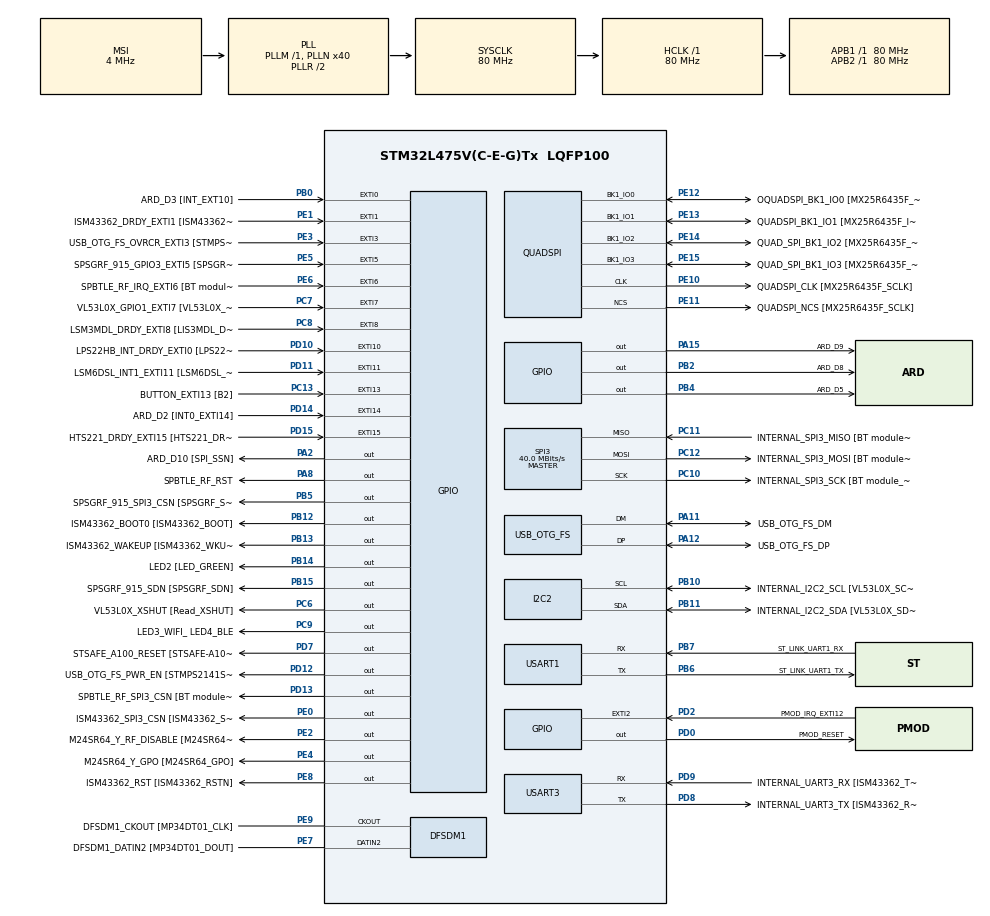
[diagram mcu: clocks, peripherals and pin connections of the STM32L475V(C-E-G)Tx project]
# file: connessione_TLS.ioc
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I2C2.Timing=0x10909CEC
Mcu.Family=STM32L4
Mcu.Name=STM32L475V(C-E-G)Tx
Mcu.Package=LQFP100
NVIC.EXTI15_10_IRQn=true\:0\:0\:false\:false\:true\:true\:true
NVIC.EXTI1_IRQn=true\:0\:0\:false\:false\:true\:true\:true
NVIC.EXTI9_5_IRQn=true\:0\:0\:false\:false\:true\:true\:true
NVIC.PriorityGroup=NVIC_PRIORITYGROUP_4
NVIC.RTC_Alarm_IRQn=true\:0\:0\:false\:false\:true\:true\:true
NVIC.TIM1_UP_TIM16_IRQn=true\:0\:0\:false\:false\:true\:true\:true
PA0.GPIO_Label=ARD_D1 [UART4_TX]
PA0.Signal=UART4_TX
PA1.GPIO_Label=ARD_D0 [UART4_RX]
PA1.Signal=UART4_RX
PA10.GPIO_Label=USB_OTG_FS_ID
PA10.Signal=USB_OTG_FS_ID
PA11.GPIO_Label=USB_OTG_FS_DM
PA11.Mode=Device_Only
PA11.Signal=USB_OTG_FS_DM
PA12.GPIO_Label=USB_OTG_FS_DP
PA12.Mode=Device_Only
PA12.Signal=USB_OTG_FS_DP
PA13\ (JTMS-SWDIO).GPIO_Label=SYS_JTMS_SWDIO
PA13\ (JTMS-SWDIO).Mode=Serial_Wire
PA13\ (JTMS-SWDIO).Signal=SYS_JTMS-SWDIO
PA14\ (JTCK-SWCLK).GPIO_Label=SYS_JTCK_SWCLK
PA14\ (JTCK-SWCLK).Mode=Serial_Wire
PA14\ (JTCK-SWCLK).Signal=SYS_JTCK-SWCLK
PA15\ (JTDI).GPIO_Label=ARD_D9
PA15\ (JTDI).Signal=GPIO_Output
PA2.GPIO_Label=ARD_D10 [SPI_SSN]
PA2.Signal=GPIO_Output
PA3.GPIO_Label=ARD_D4
PA3.Signal=S_TIM2_CH4
PA4.GPIO_Label=ARD_D7
PA4.Signal=ADCx_IN9
PA5.GPIO_Label=ARD_D13 [SPI1_SCK]
PA5.Signal=SPI1_SCK
PA6.GPIO_Label=ARD_D12 [SPI1_MISO]
PA6.Signal=SPI1_MISO
PA7.GPIO_Label=ARD_D11 [SPI1_MOSI]
PA7.Signal=SPI1_MOSI
PA8.GPIO_Label=SPBTLE_RF_RST
PA8.Signal=GPIO_Output
PA9.GPIO_Label=USB_OTG_FS_VBUS [STMPS2141STR_OUT]
PA9.Signal=USB_OTG_FS_VBUS
PB0.GPIO_Label=ARD_D3 [INT_EXT10]
PB0.Signal=GPXTI0
PB1.GPIO_Label=ARD_D6 [ADC1_IN6]
PB1.Signal=ADCx_IN16
PB10.GPIO_Label=INTERNAL_I2C2_SCL [VL53L0X_SCL]
PB10.Mode=I2C
PB10.Signal=I2C2_SCL
PB11.GPIO_Label=INTERNAL_I2C2_SDA [VL53L0X_SDA]
PB11.Mode=I2C
PB11.Signal=I2C2_SDA
PB12.GPIO_Label=ISM43362_BOOT0 [ISM43362_BOOT]
PB12.Signal=GPIO_Output
PB13.GPIO_Label=ISM43362_WAKEUP [ISM43362_WKUP]
PB13.Signal=GPIO_Output
PB14.GPIO_Label=LED2 [LED_GREEN]
PB14.Signal=GPIO_Output
PB15.GPIO_Label=SPSGRF_915_SDN [SPSGRF_SDN]
PB15.Signal=GPIO_Output
PB2.GPIO_Label=ARD_D8
PB2.Signal=GPIO_Output
PB3\ (JTDO-TRACESWO).GPIO_Label=SYS_JTD0_SWO
PB3\ (JTDO-TRACESWO).Signal=SYS_JTDO-SWO
PB4\ (NJTRST).GPIO_Label=ARD_D5
PB4\ (NJTRST).Signal=GPIO_Output
PB5.GPIO_Label=SPSGRF_915_SPI3_CSN [SPSGRF_SPI_CS]
PB5.PinState=GPIO_PIN_SET
PB5.Signal=GPIO_Output
PB6.GPIO_Label=ST_LINK_UART1_TX
PB6.Mode=Asynchronous
PB6.Signal=USART1_TX
PB7.GPIO_Label=ST_LINK_UART1_RX
PB7.Mode=Asynchronous
PB7.Signal=USART1_RX
PB8.GPIO_Label=ARD_D15 [I2C1_SCL]
PB8.Signal=I2C1_SCL
PB9.GPIO_Label=ARD_D14 [I2C1_SDA]
PB9.Signal=I2C1_SDA
PC0.GPIO_Label=ARD_A5 [ADC]
PC0.Signal=ADCx_IN1
PC1.GPIO_Label=ARD_A4 [ADC]
PC1.Signal=ADCx_IN2
PC10.GPIO_Label=INTERNAL_SPI3_SCK [BT module_SPI_SCLK] [ISM43362_SCK]
PC10.Mode=Full_Duplex_Master
PC10.Signal=SPI3_SCK
PC11.GPIO_Label=INTERNAL_SPI3_MISO [BT module_SPI_MISO] [ISM43362_MISO]
PC11.Mode=Full_Duplex_Master
PC11.Signal=SPI3_MISO
PC12.GPIO_Label=INTERNAL_SPI3_MOSI [BT module_SPI_MOSI] [ISM43362_MOSI]
PC12.Mode=Full_Duplex_Master
PC12.Signal=SPI3_MOSI
PC13.GPIO_Label=BUTTON_EXTI13 [B2]
PC13.GPIO_ModeDefaultEXTI=GPIO_MODE_IT_FALLING
PC13.Signal=GPXTI13
PC14-OSC32_IN\ (PC14).Mode=LSE-External-Oscillator
PC14-OSC32_IN\ (PC14).Signal=RCC_OSC32_IN
PC15-OSC32_OUT\ (PC15).Mode=LSE-External-Oscillator
PC15-OSC32_OUT\ (PC15).Signal=RCC_OSC32_OUT
PC2.GPIO_Label=ARD_A3 [ADC]
PC2.Signal=ADCx_IN3
PC3.GPIO_Label=ARD_A2 [ADC]
PC3.Signal=ADCx_IN4
PC4.GPIO_Label=ARD_A1 [ADC]
PC4.Signal=ADCx_IN13
PC5.GPIO_Label=ARD_A0 [ADC]
PC5.Signal=ADCx_IN14
PC6.GPIO_Label=VL53L0X_XSHUT [Read_XSHUT]
PC6.Signal=GPIO_Output
PC7.GPIO_Label=VL53L0X_GPIO1_EXTI7 [VL53L0X_GPIO1]
PC7.Signal=GPXTI7
PC8.GPIO_Label=LSM3MDL_DRDY_EXTI8 [LIS3MDL_DRDY]
PC8.Signal=GPXTI8
PC9.GPIO_Label=LED3_WIFI_ LED4_BLE
PC9.Signal=GPIO_Output
PD0.GPIO_Label=PMOD_RESET
PD0.Signal=GPIO_Output
PD1.GPIO_Label=PMOD_SPI2_SCK
PD1.Signal=SPI2_SCK
PD10.GPIO_Label=LPS22HB_INT_DRDY_EXTI0 [LPS22HB_INT_DRDY] 
PD10.Signal=GPXTI10
PD11.GPIO_Label=LSM6DSL_INT1_EXTI11 [LSM6DSL_INT1]
PD11.Signal=GPXTI11
PD12.GPIO_Label=USB_OTG_FS_PWR_EN [STMPS2141STR_EN]
PD12.Signal=GPIO_Output
PD13.GPIO_Label=SPBTLE_RF_SPI3_CSN [BT module_SPI_CS]
PD13.PinState=GPIO_PIN_SET
PD13.Signal=GPIO_Output
PD14.GPIO_Label=ARD_D2 [INT0_EXTI14]
PD14.Signal=GPXTI14
PD15.GPIO_Label=HTS221_DRDY_EXTI15 [HTS221_DRDY]
PD15.Signal=GPXTI15
PD2.GPIO_Label=PMOD_IRQ_EXTI12
PD2.Signal=GPXTI2
PD3.GPIO_Label=PMOD_UART2_CTS
PD3.Signal=USART2_CTS
PD4.GPIO_Label=PMOD_UART2_RTS
PD4.Signal=USART2_RTS
PD5.GPIO_Label=PMOD_UART2_TX
PD5.Signal=USART2_TX
PD6.GPIO_Label=PMOD_UART2_RX
PD6.Signal=USART2_RX
PD7.GPIO_Label=STSAFE_A100_RESET [STSAFE-A100_RESET]
PD7.Signal=GPIO_Output
PD8.GPIO_Label=INTERNAL_UART3_TX [ISM43362_RX]
PD8.Mode=Asynchronous
PD8.Signal=USART3_TX
PD9.GPIO_Label=INTERNAL_UART3_RX [ISM43362_TX]
PD9.Mode=Asynchronous
PD9.Signal=USART3_RX
PE0.GPIO_Label=ISM43362_SPI3_CSN [ISM43362_SSN]
PE0.PinState=GPIO_PIN_SET
PE0.Signal=GPIO_Output
PE1.GPIO_Label=ISM43362_DRDY_EXTI1 [ISM43362_DATARDY]
PE1.Signal=GPXTI1
PE10.GPIO_Label=QUADSPI_CLK [MX25R6435F_SCLK]
PE10.Mode=Single Bank
PE10.Signal=QUADSPI_CLK
PE11.GPIO_Label=QUADSPI_NCS [MX25R6435F_SCLK]
PE11.Mode=Single Bank
PE11.Signal=QUADSPI_NCS
PE12.GPIO_Label=OQUADSPI_BK1_IO0 [MX25R6435F_IO0]
PE12.Mode=Single Bank
PE12.Signal=QUADSPI_BK1_IO0
PE13.GPIO_Label=QUADSPI_BK1_IO1 [MX25R6435F_IO1]
PE13.Mode=Single Bank
PE13.Signal=QUADSPI_BK1_IO1
PE14.GPIO_Label=QUAD_SPI_BK1_IO2 [MX25R6435F_IO2]
PE14.Mode=Single Bank
PE14.Signal=QUADSPI_BK1_IO2
PE15.GPIO_Label=QUAD_SPI_BK1_IO3 [MX25R6435F_IO3]
PE15.Mode=Single Bank
PE15.Signal=QUADSPI_BK1_IO3
PE2.GPIO_Label=M24SR64_Y_RF_DISABLE [M24SR64_RFDIS]
PE2.Signal=GPIO_Output
PE3.GPIO_Label=USB_OTG_FS_OVRCR_EXTI3 [STMPS2141STR_FAULT]
PE3.Signal=GPXTI3
PE4.GPIO_Label=M24SR64_Y_GPO [M24SR64_GPO]
PE4.Signal=GPIO_Output
PE5.GPIO_Label=SPSGRF_915_GPIO3_EXTI5 [SPSGRF_GPIO_3]
PE5.Signal=GPXTI5
PE6.GPIO_Label=SPBTLE_RF_IRQ_EXTI6 [BT module_SPI_IRQ]
PE6.Signal=GPXTI6
PE7.GPIO_Label=DFSDM1_DATIN2 [MP34DT01_DOUT]
PE7.Signal=S_DATAIN2DFSDM1
PE8.GPIO_Label=ISM43362_RST [ISM43362_RSTN]
PE8.Signal=GPIO_Output
PE9.GPIO_Label=DFSDM1_CKOUT [MP34DT01_CLK]
PE9.Signal=S_CKOUTDFSDM1
ProjectManager.HeapSize=0x200
ProjectManager.StackSize=0x400
ProjectManager.TargetToolchain=STM32CubeIDE
RCC.ADCFreq_Value=48000000
RCC.AHBFreq_Value=80000000
RCC.APB1Freq_Value=80000000
RCC.APB1TimFreq_Value=80000000
RCC.APB2Freq_Value=80000000
RCC.APB2TimFreq_Value=80000000
RCC.CortexFreq_Value=80000000
RCC.HCLKFreq_Value=80000000
RCC.HSE_VALUE=8000000
RCC.HSI_VALUE=16000000
RCC.MSI_VALUE=4000000
RCC.PLLN=40
RCC.PLLSAI1N=24
RCC.SYSCLKFreq_VALUE=80000000
RCC.SYSCLKSource=RCC_SYSCLKSOURCE_PLLCLK
RCC.USBFreq_Value=48000000
RCC.VCOOutputFreq_Value=160000000
RTC.Alarm-Alarm\ A=RTC_ALARM_A
RTC.AlarmDateWeekDay-Alarm\ A=1
RTC.AlarmMaskDateWeekDay-Alarm\ A=RTC_ALARMMASK_DATEWEEKDAY
RTC.Format=RTC_FORMAT_BIN
RTC.Hours_A-Alarm\ A=13
RTC.Minutes_A-Alarm\ A=14
RTC.Seconds_A-Alarm\ A=5
SH.ADCx_IN1.0=ADC1_IN1
SH.ADCx_IN13.0=ADC1_IN13
SH.ADCx_IN14.0=ADC1_IN14
SH.ADCx_IN16.0=ADC1_IN16
SH.ADCx_IN2.0=ADC1_IN2
SH.ADCx_IN3.0=ADC1_IN3
SH.ADCx_IN4.0=ADC1_IN4
SH.ADCx_IN9.0=ADC1_IN9
SH.S_CKOUTDFSDM1.0=DFSDM1_CKOUT,CKOUT
SH.S_CKOUTDFSDM1.1=DFSDM1_CKOUT,PDM_SPI_Input_from_ch12_and_Internal_Clock
SH.S_DATAIN2DFSDM1.0=DFSDM1_DATIN2,PDM_SPI_Input_from_ch12_and_Internal_Clock
SH.S_TIM2_CH4.0=TIM2_CH4
SPI3.CalculateBaudRate=40.0 MBits/s
SPI3.Direction=SPI_DIRECTION_2LINES
SPI3.Mode=SPI_MODE_MASTER
SPI3.VirtualType=VM_MASTER
TIM16.AutoReloadPreload=TIM_AUTORELOAD_PRELOAD_ENABLE
TIM16.Period=8000-1
TIM16.Prescaler=10000-1
TIM16.RepetitionCounter=3
USART1.VirtualMode-Asynchronous=VM_ASYNC
USART3.VirtualMode-Asynchronous=VM_ASYNC
USB_OTG_FS.VirtualMode=Device_Only
VP_RNG_VS_RNG.Mode=RNG_Activate
VP_RTC_VS_RTC_Activate.Mode=RTC_Enabled
VP_RTC_VS_RTC_Alarm_A_Intern.Mode=Alarm A
VP_RTC_VS_RTC_Calendar.Mode=RTC_Calendar
VP_TIM16_VS_ClockSourceINT.Mode=Enable_Timer
board=B-L475E-IOT01A1

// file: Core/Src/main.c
/* USER CODE BEGIN Header */
/**
  ******************************************************************************
  * @file           : main.c
  * @brief          : Main program body
  ******************************************************************************
  * @attention
  *
  * <h2><center>&copy; Copyright (c) 2020 STMicroelectronics.
  * All rights reserved.</center></h2>
  *
  * This software component is licensed by ST under BSD 3-Clause license,
  * the "License"; You may not use this file except in compliance with the
  * License. You may obtain a copy of the License at:
  *                        opensource.org/licenses/BSD-3-Clause
  *
  ******************************************************************************
  *
  * Il codice qui scritto effettua le seguenti operazioni:
  *  - Connessione alla rete Wi-Fi
  *  - Creazione di una connessione criptata TLS
  *  - Creazione di una connessione MQTT
  *  - Sottoscrizione al topic di ricezione orario
  *  - Publish su due diversi topic
  *  - Scrittura a terminale di avvenuta ricezione di un messaggio inviato dal broker
  */
/* USER CODE END Header */

#include "main.h"
#include "dfsdm.h"
#include "i2c.h"
#include "quadspi.h"
#include "rng.h"
#include "rtc.h"
#include "spi.h"
#include "tim.h"
#include "usart.h"
#include "usb_otg.h"
#include "gpio.h"

/* USER CODE BEGIN Includes */

#include "MQTT_fundamental.h"
#include "macro_def.h"
#include "eeprom_emul.h"

/* USER CODE END Includes */

/* USER CODE BEGIN PV */

#if defined (TERMINAL_USE)
extern UART_HandleTypeDef hDiscoUart;
#endif /* TERMINAL_USE */

/* Variabile che identifica l'SPI3 */
extern  SPI_HandleTypeDef hspi;

extern __IO uint32_t uwTick;
extern uint16_t dataCollectIterations;

/* Variabile Random Number Generator (RNG) */
RNG_HandleTypeDef hrng;

/* Variabili per connessione TLS */
mbedtls_net_context server_fd;
mbedtls_entropy_context entropy;
mbedtls_ssl_context ssl;
mbedtls_ctr_drbg_context ctr_drbg;
mbedtls_ssl_config conf;
mbedtls_x509_crt cacert;
Network network;

/* Variabile client MQTT */
MQTTClient c;

/*Variabili per la gestione dell'RTC*/
RTC_TimeTypeDef structureTimeGet;
RTC_DateTypeDef structureDateGet;

flags_t flags = {0};

//uint8_t timeReqFlag = 0;

/*
 * Variabili per la gestione del sensore HTS221 (temperatura e umidità)
 * */
	int i=0;
	int16_t T0_out, T1_out, T_out, T0_degC_x8_u16, T1_degC_x8_u16;
	int16_t T0_degC, T1_degC;
	uint8_t buffer[4], tmp;
	int32_t temperature32;
	char temperature32_string[5];

	int16_t H0_T0_out, H1_T0_out, H_T_out;
	int16_t H0_rh, H1_rh;
	int32_t humidity32;
	char humidity32_string[5];

/* USER CODE END PV */

void SystemClock_Config(void);

/* USER CODE BEGIN 0 */

typedef enum{
	IDLE,
	timeRequest,
	dataRead,
	dataSend
}state;

/* USER CODE END 0 */

int main(void)
{
  /* USER CODE BEGIN 1 */
  uint8_t ret = 0;

  /* USER CODE END 1 */

  /* MCU Configuration--------------------------------------------------------*/

  /* Reset of all peripherals, Initializes the Flash interface and the Systick. */
  HAL_Init();

  /* Configure the system clock */
  SystemClock_Config();

  /* Initialize all configured peripherals */
  MX_GPIO_Init();
  MX_DFSDM1_Init();
  MX_I2C2_Init();
  MX_QUADSPI_Init();
  MX_SPI3_Init();
  MX_USART1_UART_Init();
  MX_USART3_UART_Init();
  MX_USB_OTG_FS_PCD_Init();
  MX_RNG_Init();
  MX_RTC_Init();
  MX_TIM16_Init();
  /* USER CODE BEGIN 2 */

  /*
   * Definizione parametri UART per scrittura a terminale
   */
#if defined (TERMINAL_USE)
  /* Initialize all configured peripherals */
  hDiscoUart.Instance = DISCOVERY_COM1;
  hDiscoUart.Init.BaudRate = 115200;
  hDiscoUart.Init.WordLength = UART_WORDLENGTH_8B;
  hDiscoUart.Init.StopBits = UART_STOPBITS_1;
  hDiscoUart.Init.Parity = UART_PARITY_NONE;
  hDiscoUart.Init.Mode = UART_MODE_TX_RX;
  hDiscoUart.Init.HwFlowCtl = UART_HWCONTROL_NONE;
  hDiscoUart.Init.OverSampling = UART_OVERSAMPLING_16;
  hDiscoUart.Init.OneBitSampling = UART_ONE_BIT_SAMPLE_DISABLE;
  hDiscoUart.AdvancedInit.AdvFeatureInit = UART_ADVFEATURE_NO_INIT;

  BSP_COM_Init(COM1, &hDiscoUart);
#endif
  /* Inizializzazione TLS */
  Net_TLS_Init();
  /* Connessione alla rete Wi-Fi */

  /*
   * TODO: In caso di errore di mancata connessione al wifi (ret!=0) si deve pensare alla gestione
   */
  ret = board_wifi_init(SSID_RETE, PASSWORD);
  WIFI_Status_t conn_rc = WIFI_STATUS_ERROR;
  for(uint8_t connTrials=0; connTrials<CONNECTION_TRIAL_MAX;connTrials++)
  {
	  /* Connessione al server con TLS */
	  conn_rc = TLS_connect(SERVER_NAME, SERVER_PORT, SERVER_CN);
	  if(conn_rc==WIFI_STATUS_OK)
	  {
		  TERMOUT("> TLS connection to server SUCCESSFULL\n");
		  break;
	  }
	  else
	  {
		  TERMOUT("> TLS connection to server FAILED\n");
		  HAL_Delay(RECONNECT_DELAY);
		  if(connTrials==CONNECTION_TRIAL_MAX-1)
		  {
			  /*
			   * TODO: Gestire la mancata connessione al server
			   */
			  Error_Handler();
		  }
	  }
  }
  /* Setup connessione MQTT */
  MQTT_setup();

  /* USER CODE END 2 */

  /* Infinite loop */
  /* USER CODE BEGIN WHILE */

#if defined (SERVER_MODENA)
  /*
   * Queste sono le variabili da riempire con i dati da inviare al server:
   *
   * diff_measures: Numero di diverse tipologie di misura
   * measures_name: Nome della misura
   * measure_unit: Unità di misura
   * data_type: Tipologia di dato (es. passo, salto, temp. interna, temp. esterna, ...)
   * values: Valori di misura. ATTENZIONE! tutti i valori delle misure devono essere inseriti
   * 		 in questo array in ordine come nelle variabili precedenti
   * 		 Esempio: prima i 10 valori di passo, poi i 5 di salto, poi i 7 di temp. interna,
   * 		 		  poi i 9 di temp. esterna
   * measures_intervals: Il numero di valori di ogni diversa misura
   * 					 (nel nostro esempio rispettivamente 10,5,7,9)
   *
   * TODO: Il massimo numero di caratteri della stringa sono 2000... valore da valutare
   *
   */
//  uint8_t diff_measures = 4;//numero di misure
//  char* measures_name[] = {"tmp","pos","vel","wgh"};
//  char* measure_unit[] = {"celsius","centimeters","meters/seconds","kg"};
//  char* data_type[] = {"ambient temperature", "foot position", "run speed", "subject weight"};
//  int values[] = {1,2,3,4,5,6,7,8,9,0};
//  int measures_intervals[] = {3,4,2,1};

    uint8_t diff_measures = 2;//numero di misure
    char* measures_name[] = {"Temperatura","Umidita"};	//nomi delle misure
    char* measure_unit[] = {"celsius","%"};	//unita' di misura
    char* data_type[] = {"temperatura ambiente", "umidita relativa"};
    uint8_t values[] = {0,0,0,0,0,0,0,0,0,0};
    int measures_intervals[] = {DATA_SEND_INTERVAL, DATA_SEND_INTERVAL};	//numero di campioni per ciascuna misura
    char* timestamps[DATA_SEND_INTERVAL];

    for(i=0;i<DATA_SEND_INTERVAL;i++){
    	timestamps[i] = (char*)malloc(17*sizeof(char));
    }

    //Per default tutti i flag sono 0, tranne quelli elencati sotto che devono essere a 1.
    flags.serverTimeRequest = 1;	//alla prima esecuzione chiedo il tempo

    /*Configurazione e abilitazione delle varie periferiche*/
    rtc_alarm_setup(23,55,00);	//impostazione dell'allarme; parametri: 1.ora, 2.minuti, 3.secondi;
    hts221_setup();	//configurazione del sensore di temperatura e umidità
    tim16_setup(TIM16_IRQ_INTERVAL);	//configurazione e abilitazione del timer TIM16

//    ee_init();

//    i=0;

  while (1)
  {

	/*Richiesta del tempo e aggiornamento dell'RTC*/
	if(flags.serverTimeRequest==1){

		TERMOUT("Chiedo il tempo al server\n");
		ret = request_time();
		ret = request_time();

		HAL_Delay(1000);

		if (ret == 0)
		{
		  TERMOUT("> Correct Publish to the topic: %s\n", TOPIC_REQ_TIME);
		}
		else
		{
		  /*
		   * TODO: Riavviare la connessione al broker in caso di errore nella publish
		   */
		  TERMOUT("> Unable to Publish to the topic: %s\n", TOPIC_REQ_TIME);
		}

//		//aspetto per un po' di tempo la risposta del server

		//azzero il flag
		flags.serverTimeRequest = 0;

	}
	if(flags.connectionCheck==1){

		TERMOUT("Sono nella Yield\n");	//per debug
		if ((ret=MQTTYield(&c, 1000))!=0)
		{
		  TERMOUT("Yield ERROR \n");
		  /*
		   * TODO: Riavviare la connessione al broker in caso di errore nella Yield
		   */
		}else{
			TERMOUT("Yield SUCCESS \n");	//per debug

			//azzero flag
			flags.connectionCheck = 0;
			TERMOUT("Esco dalla Yield\n");
		}

	}

	if(flags.sensorDataRead==1 && flags.connectionCheck == 0){

		TERMOUT("COLLECTING DATA\n");	//per debug

//		uint8_t to_flash[8];

//		//1. Leggo sensori
		hts221_temp_humidity_read((int32_t*)&values[i], (int32_t*)&values[i+DATA_SEND_INTERVAL]);
//		hts221_temp_humidity_read((int32_t*)&to_flash[0], (int32_t*)&to_flash[1]);

		HAL_RTC_GetTime(&hrtc, &structureTimeGet, RTC_FORMAT_BIN);
		HAL_RTC_GetDate(&hrtc, &structureDateGet, RTC_FORMAT_BIN);

		sprintf(timestamps[i], "%d:%d:%d-%d:%d:%d",
								structureDateGet.Year, structureDateGet.Month, structureDateGet.Date,
								structureTimeGet.Hours, structureTimeGet.Minutes, structureTimeGet.Seconds);
//		to_flash[2] = structureDateGet.Year;
//		to_flash[3] = structureDateGet.Month;
//		to_flash[4] = structureDateGet.Date;
//		to_flash[5] = structureTimeGet.Hours;
//		to_flash[6] = structureTimeGet.Minutes;
//		to_flash[7] = structureTimeGet.Seconds;
//
//		//2. Inserisco i dati nella flash
//		ee_writeToRam(8*i, 8, to_flash);
//		ee_commit();

		//Variabile che memorizza il numero di valori inseriti nella flash
		i++; if(i==DATA_SEND_INTERVAL){i=0;}

		//3. azzero flag
		flags.sensorDataRead=0;
	}

	if(flags.sensorDataSend==1 && flags.connectionCheck == 0){

		TERMOUT("SENDING DATA \n");

//		uint8_t from_flash[DATA_SEND_INTERVAL][8];

//		//1. Leggo i dati dalla flash
//		for(int i = 0; i < DATA_SEND_INTERVAL; i++){
//
//			ee_read(8*i, 8, from_flash[i]);
//
//		}

//		for(int i = 0; i < DATA_SEND_INTERVAL; i++){
//
//			values[i] = from_flash[i][0];
//			values[i+DATA_SEND_INTERVAL] = from_flash[i][1];
//			sprintf(timestamps[i], "%d:%d:%d-%d:%d:%d",
//									from_flash[i][2], from_flash[i][3], from_flash[i][4],
//									from_flash[i][5], from_flash[i][6], from_flash[i][7]);
//		}

		//2. Pubblico il messaggio
		send_data(diff_measures, measures_name, measure_unit, data_type, values, measures_intervals, timestamps);

//		//3. Cancello il vecchio set di campioni dalla flash
//		ee_format(true);

		//3. azzero flag
		flags.sensorDataSend=0;
	}

    /* USER CODE END WHILE */

    /* USER CODE BEGIN 3 */
  }
#else

  MQTTMessage data_msg;
  uint8_t qos = QOS_PUB;
  char* data_send_topic = TOPIC_OSO;
  char buffer[2000];
  sprintf(buffer,"This is a test for yield verify");
  data_msg.payload = buffer;
  data_msg.payloadlen = strlen(data_msg.payload);
  data_msg.qos = qos;
  data_msg.retained = 0;
  data_msg.dup = 0;

  while (1)
  {
	  TERMOUT("> Message 1 at QoS %d\n", QOS_PUB);
	  ret = MQTTPublish(&c, data_send_topic, &data_msg);

	  if (ret == 0)
	  {
		  TERMOUT("> Correct Publish to the topic: %s\n", TOPIC_OSO);
	  }
	  else
	  {
		  /*
		   * TODO: Riavviare la connessione al broker in caso di errore nella publish
		   */
		  TERMOUT("> Unable to Publish to the topic: %s\n", TOPIC_OSO);
	  }
	  HAL_Delay(1000);

	  TERMOUT("> Message 2 at QoS %d\n", QOS_PUB);
	  ret = MQTTPublish(&c, data_send_topic, &data_msg);
	  if (ret == 0)
	  {
		  TERMOUT("> Correct Publish to the topic: %s\n", TOPIC_OSO);
	  }
	  else
	  {
		  /*
		   * TODO: Riavviare la connessione al broker in caso di errore nella publish
		   */
		  TERMOUT("> Unable to Publish to the topic: %s\n", TOPIC_OSO);
	  }
	  HAL_Delay(1000);

	  TERMOUT("> Time request \n");
	  ret = MQTTPublish(&c, data_send_topic, &data_msg);
	  if (ret == 0)
	  {
		  TERMOUT("> Correct Publish to the topic: %s\n", TOPIC_REQ_TIME);
	  }
	  else
	  {
		  /*
		   * TODO: Riavviare la connessione al broker in caso di errore nella publish
		   */
		  TERMOUT("> Unable to Publish to the topic: %s\n", TOPIC_REQ_TIME);
	  }
	  HAL_Delay(1000);

	  while(1)
	  {
		  if ((ret=MQTTYield(&c, 2000))!=0)
		  {
			  TERMOUT("Yield ERROR \n");
			  /*
			   * TODO: Riavviare la connessione al broker in caso di errore nella Yield
			   */
		  }
	  }

    /* USER CODE END WHILE */

    /* USER CODE BEGIN 3 */
  }
#endif
  /* USER CODE END 3 */
}

void SystemClock_Config(void)
{
  RCC_OscInitTypeDef RCC_OscInitStruct = {0};
  RCC_ClkInitTypeDef RCC_ClkInitStruct = {0};
  RCC_PeriphCLKInitTypeDef PeriphClkInit = {0};

  /** Configure LSE Drive Capability
  */
  HAL_PWR_EnableBkUpAccess();
  __HAL_RCC_LSEDRIVE_CONFIG(RCC_LSEDRIVE_LOW);
  /** Initializes the CPU, AHB and APB busses clocks
  */
  RCC_OscInitStruct.OscillatorType = RCC_OSCILLATORTYPE_LSI|RCC_OSCILLATORTYPE_LSE
                              |RCC_OSCILLATORTYPE_MSI;
  RCC_OscInitStruct.LSEState = RCC_LSE_ON;
  RCC_OscInitStruct.LSIState = RCC_LSI_ON;
  RCC_OscInitStruct.MSIState = RCC_MSI_ON;
  RCC_OscInitStruct.MSICalibrationValue = 0;
  RCC_OscInitStruct.MSIClockRange = RCC_MSIRANGE_6;
  RCC_OscInitStruct.PLL.PLLState = RCC_PLL_ON;
  RCC_OscInitStruct.PLL.PLLSource = RCC_PLLSOURCE_MSI;
  RCC_OscInitStruct.PLL.PLLM = 1;
  RCC_OscInitStruct.PLL.PLLN = 40;
  RCC_OscInitStruct.PLL.PLLP = RCC_PLLP_DIV7;
  RCC_OscInitStruct.PLL.PLLQ = RCC_PLLQ_DIV2;
  RCC_OscInitStruct.PLL.PLLR = RCC_PLLR_DIV2;
  if (HAL_RCC_OscConfig(&RCC_OscInitStruct) != HAL_OK)
  {
    Error_Handler();
  }
  /** Initializes the CPU, AHB and APB busses clocks
  */
  RCC_ClkInitStruct.ClockType = RCC_CLOCKTYPE_HCLK|RCC_CLOCKTYPE_SYSCLK
                              |RCC_CLOCKTYPE_PCLK1|RCC_CLOCKTYPE_PCLK2;
  RCC_ClkInitStruct.SYSCLKSource = RCC_SYSCLKSOURCE_PLLCLK;
  RCC_ClkInitStruct.AHBCLKDivider = RCC_SYSCLK_DIV1;
  RCC_ClkInitStruct.APB1CLKDivider = RCC_HCLK_DIV1;
  RCC_ClkInitStruct.APB2CLKDivider = RCC_HCLK_DIV1;

  if (HAL_RCC_ClockConfig(&RCC_ClkInitStruct, FLASH_LATENCY_4) != HAL_OK)
  {
    Error_Handler();
  }
  PeriphClkInit.PeriphClockSelection = RCC_PERIPHCLK_RTC|RCC_PERIPHCLK_USART1
                              |RCC_PERIPHCLK_USART3|RCC_PERIPHCLK_I2C2
                              |RCC_PERIPHCLK_DFSDM1|RCC_PERIPHCLK_USB
                              |RCC_PERIPHCLK_RNG;
  PeriphClkInit.Usart1ClockSelection = RCC_USART1CLKSOURCE_PCLK2;
  PeriphClkInit.Usart3ClockSelection = RCC_USART3CLKSOURCE_PCLK1;
  PeriphClkInit.I2c2ClockSelection = RCC_I2C2CLKSOURCE_PCLK1;
  PeriphClkInit.Dfsdm1ClockSelection = RCC_DFSDM1CLKSOURCE_PCLK;
  PeriphClkInit.RTCClockSelection = RCC_RTCCLKSOURCE_LSI;
  PeriphClkInit.UsbClockSelection = RCC_USBCLKSOURCE_PLLSAI1;
  PeriphClkInit.RngClockSelection = RCC_RNGCLKSOURCE_PLLSAI1;
  PeriphClkInit.PLLSAI1.PLLSAI1Source = RCC_PLLSOURCE_MSI;
  PeriphClkInit.PLLSAI1.PLLSAI1M = 1;
  PeriphClkInit.PLLSAI1.PLLSAI1N = 24;
  PeriphClkInit.PLLSAI1.PLLSAI1P = RCC_PLLP_DIV7;
  PeriphClkInit.PLLSAI1.PLLSAI1Q = RCC_PLLQ_DIV2;
  PeriphClkInit.PLLSAI1.PLLSAI1R = RCC_PLLR_DIV2;
  PeriphClkInit.PLLSAI1.PLLSAI1ClockOut = RCC_PLLSAI1_48M2CLK;
  if (HAL_RCCEx_PeriphCLKConfig(&PeriphClkInit) != HAL_OK)
  {
    Error_Handler();
  }
  /** Configure the main internal regulator output voltage
  */
  if (HAL_PWREx_ControlVoltageScaling(PWR_REGULATOR_VOLTAGE_SCALE1) != HAL_OK)
  {
    Error_Handler();
  }
  /** Enable MSI Auto calibration
  */
  HAL_RCCEx_EnableMSIPLLMode();
}

/* USER CODE BEGIN 4 */
void HAL_GPIO_EXTI_Callback(uint16_t GPIO_Pin)
{
  switch (GPIO_Pin)
  {
    case (GPIO_PIN_1):
    {
      SPI_WIFI_ISR();
      break;
    }
    default:
    {
      break;
    }
  }
}

void SPI3_IRQHandler(void)
{
  HAL_SPI_IRQHandler(&hspi);
}

/*
 * 	@brief	Funzione di lettura del sensore HTS221
 * 	@param	temperature indirizzo della variabile in cui verrà salvata la temperatura calcolata
 * 	@param	humidity puntatore alla variabile per il salvataggio dell'umidità calcolata
 *
 * */
void hts221_temp_humidity_read(int32_t *temperature, int32_t *humidity){

	int32_t temp32, hum32;
	uint8_t buffer[2];

	/*Lettura dei registri 0x2A & 0x2B del sensore HTS221 contenenti la temperatura*/
	HAL_I2C_Mem_Read(&hi2c2, HTS221_DEVICE_ID_READ, (uint16_t)0x2A, I2C_MEMADD_SIZE_8BIT, &buffer[0], 1, 1000);
	HAL_I2C_Mem_Read(&hi2c2, HTS221_DEVICE_ID_READ, (uint16_t)0x2B, I2C_MEMADD_SIZE_8BIT, &buffer[1], 1, 1000);
	T_out = ((uint16_t)buffer[1])<<8 | (uint16_t)buffer[0];

	/*Calcolo della temperatura per interpolazione lineare*/
	temp32 = ((((int32_t)(T_out - T0_out)) * ((int32_t)(T1_degC - T0_degC)))) / (T1_out - T0_out) + T0_degC;

	/*Lettura dell'umidità*/
	HAL_I2C_Mem_Read(&hi2c2, HTS221_DEVICE_ID_READ, (uint16_t)0x28, I2C_MEMADD_SIZE_8BIT, &buffer[0], 1, 1000);
	HAL_I2C_Mem_Read(&hi2c2, HTS221_DEVICE_ID_READ, (uint16_t)0x29, I2C_MEMADD_SIZE_8BIT, &buffer[1], 1, 1000);
	H_T_out = (((uint16_t)buffer[1])<<8) | (uint16_t)buffer[0];

	/*Calcolo dell'umidità per interpolazione lineare*/
	hum32 = (((int32_t)(H_T_out - H0_T0_out)) * ((int32_t)(H1_rh - H0_rh))) / (uint16_t)(H1_T0_out - H0_T0_out) + H0_rh;

	/*Saturazione dell'umidità*/
	if(hum32>1000){hum32=1000;};

	*temperature = temp32;
	*humidity = hum32;

}

/*
 * @brief Configurazione del sensore HTS221 e lettura dei parametri di calibrazione.
 *
 * */
void hts221_setup(void){

	uint8_t msg;

	//CTRL_REG_1 config
	HAL_I2C_Mem_Read(&hi2c2, HTS221_DEVICE_ID_READ, (uint16_t)HTS221_CTRL_REG_1, I2C_MEMADD_SIZE_8BIT, &msg, 1, 1000);
	msg |=  0b10000001 & 0b11111001;	//1Hz output data rate
	HAL_I2C_Mem_Write(&hi2c2, HTS221_DEVICE_ID_WRITE, (uint16_t)HTS221_CTRL_REG_1, I2C_MEMADD_SIZE_8BIT, &msg, 1, 1000);

	/*Lettura dai registri 0x32 & 0x33 dei coefficienti T0_degC_x8 e T1_degC_x8 */
	HAL_I2C_Mem_Read(&hi2c2, HTS221_DEVICE_ID_READ, (uint16_t)0x32, I2C_MEMADD_SIZE_8BIT, &buffer[0], 1, 1000);
	HAL_I2C_Mem_Read(&hi2c2, HTS221_DEVICE_ID_READ, (uint16_t)0x33, I2C_MEMADD_SIZE_8BIT, &buffer[1], 1, 1000);

	/*Lettura dal registro 0x35 del valore dei MSB di T1_degC e T0_degC*/
	HAL_I2C_Mem_Read(&hi2c2, HTS221_DEVICE_ID_READ, (uint16_t)0x35, I2C_MEMADD_SIZE_8BIT, &tmp, 1, 1000);

	/*Calcolo di T0_degC e T1_degC*/
	T0_degC_x8_u16 = ((uint16_t)(tmp & 0x03))<<8 | ((uint16_t)buffer[0]);
	T1_degC_x8_u16 = ((uint16_t)(tmp & 0x0C))<<6 | ((uint16_t)buffer[1]);
	T0_degC = T0_degC_x8_u16>>3; //divisione per 8
	T1_degC = T1_degC_x8_u16>>3; //divisione per 8

	/*Lettura di T0_out e T1_out out dai registri 0x3C & 0x3D e 0x3E & 0x3F rispettivamente*/

	for(i=0; i<4; i++){
	  HAL_I2C_Mem_Read(&hi2c2, HTS221_DEVICE_ID_READ, (uint16_t)0x3C+i, I2C_MEMADD_SIZE_8BIT, &buffer[i], 1, 1000);
	}
	T0_out = ((uint16_t)buffer[1])<<8 | (uint16_t)buffer[0];
	T1_out = ((uint16_t)buffer[3])<<8 | (uint16_t)buffer[2];

	/*Gestione del sensore di umidità*/
	/*Lettura dei coefficienti H0_rH e H1_rH*/
	HAL_I2C_Mem_Read(&hi2c2, HTS221_DEVICE_ID_READ, (uint16_t)0x30, I2C_MEMADD_SIZE_8BIT, &buffer[0], 1, 1000);
	HAL_I2C_Mem_Read(&hi2c2, HTS221_DEVICE_ID_READ, (uint16_t)0x31, I2C_MEMADD_SIZE_8BIT, &buffer[1], 1, 1000);
	H0_rh = buffer[0]>>1;
	H1_rh = buffer[1]>>1;

	/*Calcolo di H0_T0_OUT*/
	HAL_I2C_Mem_Read(&hi2c2, HTS221_DEVICE_ID_READ, (uint16_t)0x36, I2C_MEMADD_SIZE_8BIT, &buffer[0], 1, 1000);
	HAL_I2C_Mem_Read(&hi2c2, HTS221_DEVICE_ID_READ, (uint16_t)0x37, I2C_MEMADD_SIZE_8BIT, &buffer[1], 1, 1000);
	H0_T0_out = (((uint16_t)buffer[1])<<8) | (uint16_t)buffer[0];

	/*Calcolo di H1_T0_OUT*/
	HAL_I2C_Mem_Read(&hi2c2, HTS221_DEVICE_ID_READ, (uint16_t)0x3A, I2C_MEMADD_SIZE_8BIT, &buffer[0], 1, 1000);
	HAL_I2C_Mem_Read(&hi2c2, HTS221_DEVICE_ID_READ, (uint16_t)0x3B, I2C_MEMADD_SIZE_8BIT, &buffer[1], 1, 1000);
	H1_T0_out = (((uint16_t)buffer[1])<<8) | (uint16_t)buffer[0];

}

/*
 * @brief RTC setup
 *
 * */
void rtc_alarm_setup(uint8_t ora, uint8_t minuti, uint8_t secondi){

	RTC_AlarmTypeDef alarm_t = {0};

	alarm_t.AlarmTime.Hours = ora;
	alarm_t.AlarmTime.Minutes = minuti;
	alarm_t.AlarmTime.Seconds = secondi;
	alarm_t.AlarmTime.SubSeconds = 0;
	alarm_t.AlarmTime.DayLightSaving = RTC_DAYLIGHTSAVING_NONE;
	alarm_t.AlarmTime.StoreOperation = RTC_STOREOPERATION_RESET;
	alarm_t.AlarmMask = RTC_ALARMMASK_DATEWEEKDAY;
	alarm_t.AlarmSubSecondMask = RTC_ALARMSUBSECONDMASK_ALL;
	alarm_t.AlarmDateWeekDaySel = RTC_ALARMDATEWEEKDAYSEL_DATE;
	alarm_t.AlarmDateWeekDay = 1;
	alarm_t.Alarm = RTC_ALARM_A;

	//alarm setup
	HAL_RTC_SetAlarm_IT(&hrtc, &alarm_t, RTC_FORMAT_BIN);

}

/*
 * 	@brief tim16 irq setup
 * 	@param irq_interval intervallo di tempo, espresso in secondi, che intercorra fra due interrupt consecutivi
 *
 *	@nota valore massimo ammissibile per irq_interval = 4166, che equivale a circa 69 minuti.
 * */

void tim16_setup(uint32_t irq_interval){

    TIM_HandleTypeDef htim16;

    htim16.Instance = TIM16;
    htim16.Init.Prescaler = 20000-1;
    htim16.Init.CounterMode = TIM_COUNTERMODE_UP;
    htim16.Init.Period = 16*irq_interval-1;
    htim16.Init.ClockDivision = TIM_CLOCKDIVISION_DIV1;
    htim16.Init.RepetitionCounter = 250-1;
    htim16.Init.AutoReloadPreload = TIM_AUTORELOAD_PRELOAD_ENABLE;

    //timer setup
    HAL_TIM_Base_Init(&htim16);

    //timer start
	HAL_TIM_Base_Start_IT(&htim16);
}

/* USER CODE END 4 */

void Error_Handler(void)
{
  /* USER CODE BEGIN Error_Handler_Debug */
  /* User can add his own implementation to report the HAL error return state */
  /*
   * TODO: Questo è il posto giusto dove gestire i diversi errori
   */
  /* USER CODE END Error_Handler_Debug */
}

/************************ (C) COPYRIGHT STMicroelectronics *****END OF FILE****/
